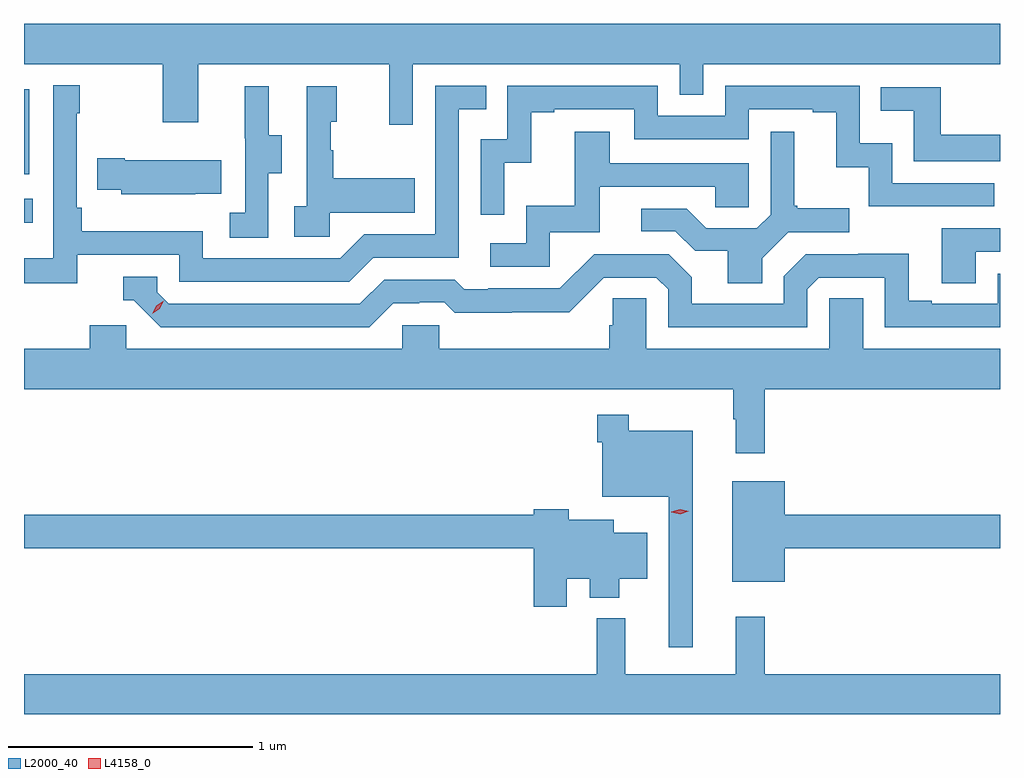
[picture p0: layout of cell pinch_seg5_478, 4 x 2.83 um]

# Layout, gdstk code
import gdstk
lib = gdstk.Library(unit=1e-6, precision=1e-09)
def R(c, l, rs):  # rectangles x0, y0, x1, y1
    for r in rs: c.add(gdstk.rectangle(r[:2], r[2:], *l))
def P(c, l, *ps):  # polygons
    for p in ps: c.add(gdstk.Polygon(p, *l))
L2000_40 = (2000, 40)
L4158_0 = (4158, 0)

pinch_seg5_478 = lib.new_cell('pinch_seg5_478')
R(pinch_seg5_478, L2000_40, [(911.178,853.445,911.213,853.544), (911.178,853.644,911.2,853.993)])
P(pinch_seg5_478, L2000_40, [(912.771,854.096),(913.866,854.096),(913.866,853.969),(913.962,853.969),(913.962,854.096),(915.178,854.096),(915.178,854.26),(911.178,854.26),(911.178,854.096),(911.746,854.096),(911.746,853.857),(911.893,853.857),(911.893,854.096),(912.674,854.096),(912.674,853.848),(912.771,853.848)],
  [(911.396,853.314),(911.814,853.314),(911.814,853.203),(912.511,853.203),(912.61,853.302),(912.96,853.302),(912.96,853.911),(913.073,853.911),(913.073,854.007),(912.864,854.007),(912.864,853.398),(912.573,853.398),(912.474,853.299),(911.91,853.299),(911.91,853.411),(911.414,853.411),(911.414,853.507),(911.394,853.507),(911.394,853.895),(911.407,853.895),(911.407,854.008),(911.298,854.008),(911.298,853.3),(911.178,853.3),(911.178,853.198),(911.396,853.198)],
  [(913.146,853.691),(913.256,853.691),(913.256,853.899),(913.351,853.899),(913.351,853.911),(913.68,853.911),(913.68,853.788),(914.148,853.788),(914.148,853.911),(914.411,853.911),(914.411,853.899),(914.507,853.899),(914.507,853.673),(914.64,853.673),(914.64,853.512),(915.155,853.512),(915.155,853.608),(914.736,853.608),(914.736,853.771),(914.604,853.771),(914.604,854.007),(914.052,854.007),(914.052,853.884),(913.776,853.884),(913.776,854.007),(913.158,854.007),(913.158,853.788),(913.05,853.788),(913.05,853.479),(913.146,853.479)],
  [(912.432,853.487),(912.779,853.487),(912.779,853.627),(912.445,853.627),(912.445,853.742),(912.435,853.742),(912.435,853.86),(912.46,853.86),(912.46,854.005),(912.336,854.005),(912.336,853.514),(912.285,853.514),(912.285,853.389),(912.432,853.389)],
  [(912.18,853.648),(912.235,853.648),(912.235,853.803),(912.181,853.803),(912.181,854.005),(912.083,854.005),(912.083,853.791),(912.084,853.791),(912.084,853.487),(912.021,853.487),(912.021,853.384),(912.18,853.384)],
  [(915.178,853.807),(914.935,853.807),(914.935,854.001),(914.689,854.001),(914.689,853.904),(914.824,853.904),(914.824,853.698),(915.178,853.698)],
  [(913.332,853.407),(913.537,853.407),(913.537,853.593),(914.011,853.593),(914.011,853.509),(914.148,853.509),(914.148,853.689),(913.579,853.689),(913.579,853.819),(913.435,853.819),(913.435,853.516),(913.236,853.516),(913.236,853.362),(913.089,853.362),(913.089,853.266),(913.332,853.266)],
  [(914.203,853.3),(914.31,853.407),(914.56,853.407),(914.56,853.504),(914.347,853.504),(914.347,853.516),(914.335,853.516),(914.335,853.819),(914.238,853.819),(914.238,853.479),(914.181,853.422),(913.975,853.422),(913.894,853.503),(913.707,853.503),(913.707,853.41),(913.848,853.41),(913.928,853.33),(914.063,853.33),(914.063,853.198),(914.203,853.198)],
  [(911.879,853.565),(911.987,853.565),(911.987,853.702),(911.59,853.702),(911.59,853.71),(911.479,853.71),(911.479,853.58),(911.577,853.58),(911.577,853.562),(911.879,853.562)],
  [(915.079,853.326),(915.178,853.326),(915.178,853.422),(914.939,853.422),(914.939,853.198),(915.079,853.198)],
  [(912.691,853.116),(912.798,853.116),(912.798,853.119),(912.901,853.119),(912.943,853.077),(913.176,853.077),(913.176,853.079),(913.412,853.079),(913.554,853.221),(913.77,853.221),(913.818,853.173),(913.818,853.017),(914.388,853.017),(914.388,853.173),(914.436,853.221),(914.706,853.221),(914.706,853.017),(915.178,853.017),(915.178,853.236),(915.168,853.236),(915.168,853.113),(914.899,853.113),(914.899,853.126),(914.803,853.126),(914.803,853.319),(914.598,853.319),(914.598,853.317),(914.382,853.317),(914.292,853.227),(914.292,853.113),(913.915,853.113),(913.915,853.223),(913.821,853.317),(913.515,853.317),(913.374,853.176),(913.081,853.176),(913.081,853.173),(912.982,853.173),(912.943,853.212),(912.654,853.212),(912.555,853.113),(911.772,853.113),(911.724,853.161),(911.724,853.224),(911.585,853.224),(911.585,853.128),(911.628,853.128),(911.739,853.017),(912.592,853.017)],
  [(912.729,853.026),(912.729,852.928),(911.598,852.928),(911.598,853.026),(911.447,853.026),(911.447,852.928),(911.178,852.928),(911.178,852.764),(914.085,852.764),(914.085,852.641),(914.096,852.641),(914.096,852.501),(914.213,852.501),(914.213,852.764),(915.178,852.764),(915.178,852.928),(914.617,852.928),(914.617,853.136),(914.478,853.136),(914.478,852.928),(913.728,852.928),(913.728,853.136),(913.591,853.136),(913.591,853.026),(913.577,853.026),(913.577,852.928),(912.879,852.928),(912.879,853.026)],
  [(913.918,852.592),(913.657,852.592),(913.657,852.658),(913.528,852.658),(913.528,852.545),(913.548,852.545),(913.548,852.323),(913.821,852.323),(913.821,851.706),(913.918,851.706)],
  [(914.296,852.112),(915.178,852.112),(915.178,852.248),(914.296,852.248),(914.296,852.385),(914.081,852.385),(914.081,851.975),(914.296,851.975)],
  [(913.402,851.987),(913.496,851.987),(913.496,851.909),(913.618,851.909),(913.618,851.987),(913.732,851.987),(913.732,852.175),(913.594,852.175),(913.594,852.229),(913.41,852.229),(913.41,852.272),(913.268,852.272),(913.268,852.248),(911.178,852.248),(911.178,852.112),(913.268,852.112),(913.268,851.871),(913.402,851.871)],
  [(915.178,851.596),(914.213,851.596),(914.213,851.83),(914.096,851.83),(914.096,851.596),(913.643,851.596),(913.643,851.824),(913.525,851.824),(913.525,851.596),(911.178,851.596),(911.178,851.432),(915.178,851.432)])
P(pinch_seg5_478, L4158_0, [(913.867,852.251),(913.831,852.259),(913.831,852.26),(913.831,852.26),(913.867,852.271),(913.902,852.263),(913.903,852.262),(913.902,852.262)],
  [(911.703,853.073),(911.703,853.073),(911.719,853.106),(911.75,853.125),(911.75,853.125),(911.75,853.125),(911.734,853.092),(911.704,853.073)])

lib.write_gds('pinch_seg5_478.gds')
